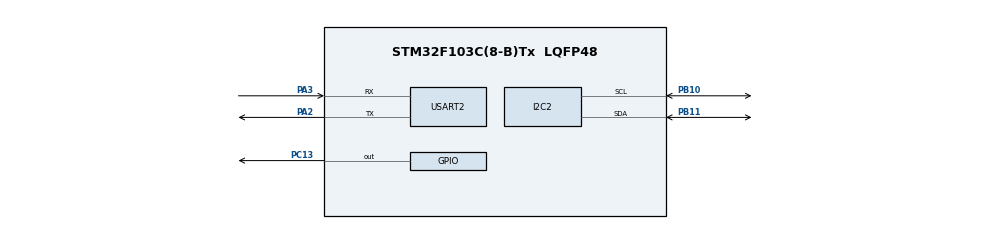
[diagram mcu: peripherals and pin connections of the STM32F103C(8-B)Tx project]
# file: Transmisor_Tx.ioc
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Mcu.Family=STM32F1
Mcu.Name=STM32F103C(8-B)Tx
Mcu.Package=LQFP48
NVIC.PriorityGroup=NVIC_PRIORITYGROUP_4
PA13.Mode=Serial_Wire
PA13.Signal=SYS_JTMS-SWDIO
PA14.Mode=Serial_Wire
PA14.Signal=SYS_JTCK-SWCLK
PA2.Mode=Asynchronous
PA2.Signal=USART2_TX
PA3.Mode=Asynchronous
PA3.Signal=USART2_RX
PB10.Mode=I2C
PB10.Signal=I2C2_SCL
PB11.Mode=I2C
PB11.Signal=I2C2_SDA
PC13-TAMPER-RTC.Signal=GPIO_Output
ProjectManager.HeapSize=0x200
ProjectManager.StackSize=0x400
ProjectManager.TargetToolchain=STM32CubeIDE
RCC.APB1Freq_Value=8000000
RCC.APB2Freq_Value=8000000
USART2.VirtualMode=VM_ASYNC
board=custom

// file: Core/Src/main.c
/* USER CODE BEGIN Header */
/**
  ******************************************************************************
  * @file           : main.c
  * @brief          : Main program body
  ******************************************************************************
  * @attention
  *
  * Copyright (c) 2025 STMicroelectronics.
  * All rights reserved.
  *
  * This software is licensed under terms that can be found in the LICENSE file
  * in the root directory of this software component.
  * If no LICENSE file comes with this software, it is provided AS-IS.
  *
  ******************************************************************************
  */
/* USER CODE END Header */
#include "main.h"

/* USER CODE BEGIN Includes */
#include "fonts.h"
#include "ssd1306.h"
#include "ssd1306_fonts.h"
#include "si5351.h"
/* USER CODE END Includes */

 I2C_HandleTypeDef hi2c2;

UART_HandleTypeDef huart2;

void SystemClock_Config(void);
static void MX_GPIO_Init(void);
static void MX_USART2_UART_Init(void);
static void MX_I2C2_Init(void);

/* USER CODE BEGIN 0 */
void UART_TransmitString(const char* str) {
       HAL_UART_Transmit(&huart2, (uint8_t*)str, strlen(str), HAL_MAX_DELAY);
   }
void oled()
{
	 ssd1306_Init();

	    ssd1306_Fill(Black);

	    ssd1306_SetCursor(0, 10);
	    ssd1306_WriteString("  Transmision: ON", Font_7x10, White);

	    ssd1306_SetCursor(0, 30);
	    ssd1306_WriteString("  Frec: 63.7MHz", Font_7x10, White);

	    ssd1306_UpdateScreen();;
}
void init3() {
	UART_TransmitString("Calling I2C_Scan()...\r\n");
	HAL_Delay(10);
	I2C_Scan();

	        UART_TransmitString("Initializing Si5351...\r\n");
	    	const int32_t correction = 33600;
	    	si5351_Init(correction);
	    	si5351_SetupCLK0(63700000, SI5351_DRIVE_STRENGTH_2MA);
	    	si5351_EnableOutputs(1 << 0);

	        UART_TransmitString("Ready!\r\n");

    }

void I2C_Scan()
	{
	    char msg[32];
	    HAL_StatusTypeDef res;

	    sprintf(msg, "Escaneando bus I2C...\r\n");
	    HAL_UART_Transmit(&huart2, (uint8_t*)msg, strlen(msg), HAL_MAX_DELAY);

	    for (uint8_t addr = 1; addr < 128; addr++)
	    {
	        res = HAL_I2C_IsDeviceReady(&hi2c2, (addr << 1), 3, 5);
	        if (res == HAL_OK)
	        {
	            sprintf(msg, "Dispositivo encontrado en 0x%02X\r\n", addr);
	            HAL_UART_Transmit(&huart2, (uint8_t*)msg, strlen(msg), HAL_MAX_DELAY);
	        }
	    }

	    sprintf(msg, "Fin del escaneo\r\n");
	    HAL_UART_Transmit(&huart2, (uint8_t*)msg, strlen(msg), HAL_MAX_DELAY);

 }

/* USER CODE END 0 */

int main(void)
{

  /* MCU Configuration--------------------------------------------------------*/

  /* Reset of all peripherals, Initializes the Flash interface and the Systick. */
  HAL_Init();

  /* Configure the system clock */
  SystemClock_Config();

  /* Initialize all configured peripherals */
  MX_GPIO_Init();
  MX_USART2_UART_Init();
  MX_I2C2_Init();
  /* USER CODE BEGIN 2 */
  void UART_TransmitString(const char* str) {
         HAL_UART_Transmit(&huart2, (uint8_t*)str, strlen(str), HAL_MAX_DELAY);
     }
  init3();
  oled();
  /* USER CODE END 2 */

  /* Infinite loop */
    while (1)
  {

  }
}

void SystemClock_Config(void)
{
  RCC_OscInitTypeDef RCC_OscInitStruct = {0};
  RCC_ClkInitTypeDef RCC_ClkInitStruct = {0};

  /** Initializes the RCC Oscillators according to the specified parameters
  * in the RCC_OscInitTypeDef structure.
  */
  RCC_OscInitStruct.OscillatorType = RCC_OSCILLATORTYPE_HSI;
  RCC_OscInitStruct.HSIState = RCC_HSI_ON;
  RCC_OscInitStruct.HSICalibrationValue = RCC_HSICALIBRATION_DEFAULT;
  RCC_OscInitStruct.PLL.PLLState = RCC_PLL_NONE;
  if (HAL_RCC_OscConfig(&RCC_OscInitStruct) != HAL_OK)
  {
    Error_Handler();
  }

  /** Initializes the CPU, AHB and APB buses clocks
  */
  RCC_ClkInitStruct.ClockType = RCC_CLOCKTYPE_HCLK|RCC_CLOCKTYPE_SYSCLK
                              |RCC_CLOCKTYPE_PCLK1|RCC_CLOCKTYPE_PCLK2;
  RCC_ClkInitStruct.SYSCLKSource = RCC_SYSCLKSOURCE_HSI;
  RCC_ClkInitStruct.AHBCLKDivider = RCC_SYSCLK_DIV1;
  RCC_ClkInitStruct.APB1CLKDivider = RCC_HCLK_DIV1;
  RCC_ClkInitStruct.APB2CLKDivider = RCC_HCLK_DIV1;

  if (HAL_RCC_ClockConfig(&RCC_ClkInitStruct, FLASH_LATENCY_0) != HAL_OK)
  {
    Error_Handler();
  }
}

static void MX_I2C2_Init(void)
{

  hi2c2.Instance = I2C2;
  hi2c2.Init.ClockSpeed = 100000;
  hi2c2.Init.DutyCycle = I2C_DUTYCYCLE_2;
  hi2c2.Init.OwnAddress1 = 0;
  hi2c2.Init.AddressingMode = I2C_ADDRESSINGMODE_7BIT;
  hi2c2.Init.DualAddressMode = I2C_DUALADDRESS_DISABLE;
  hi2c2.Init.OwnAddress2 = 0;
  hi2c2.Init.GeneralCallMode = I2C_GENERALCALL_DISABLE;
  hi2c2.Init.NoStretchMode = I2C_NOSTRETCH_DISABLE;
  if (HAL_I2C_Init(&hi2c2) != HAL_OK)
  {
    Error_Handler();
  }

}

static void MX_USART2_UART_Init(void)
{

  huart2.Instance = USART2;
  huart2.Init.BaudRate = 115200;
  huart2.Init.WordLength = UART_WORDLENGTH_8B;
  huart2.Init.StopBits = UART_STOPBITS_1;
  huart2.Init.Parity = UART_PARITY_NONE;
  huart2.Init.Mode = UART_MODE_TX_RX;
  huart2.Init.HwFlowCtl = UART_HWCONTROL_NONE;
  huart2.Init.OverSampling = UART_OVERSAMPLING_16;
  if (HAL_UART_Init(&huart2) != HAL_OK)
  {
    Error_Handler();
  }

}

static void MX_GPIO_Init(void)
{
  GPIO_InitTypeDef GPIO_InitStruct = {0};

  /* GPIO Ports Clock Enable */
  __HAL_RCC_GPIOC_CLK_ENABLE();
  __HAL_RCC_GPIOA_CLK_ENABLE();
  __HAL_RCC_GPIOB_CLK_ENABLE();

  /*Configure GPIO pin Output Level */
  HAL_GPIO_WritePin(GPIOC, GPIO_PIN_13, GPIO_PIN_RESET);

  /*Configure GPIO pin : PC13 */
  GPIO_InitStruct.Pin = GPIO_PIN_13;
  GPIO_InitStruct.Mode = GPIO_MODE_OUTPUT_PP;
  GPIO_InitStruct.Pull = GPIO_NOPULL;
  GPIO_InitStruct.Speed = GPIO_SPEED_FREQ_LOW;
  HAL_GPIO_Init(GPIOC, &GPIO_InitStruct);

}

void Error_Handler(void)
{
  __disable_irq();
  while (1)
  {
  }
}
